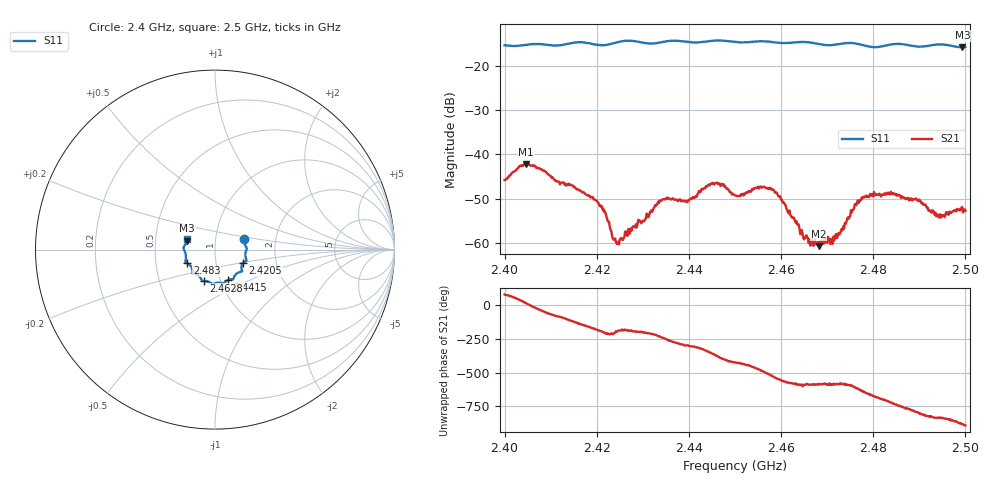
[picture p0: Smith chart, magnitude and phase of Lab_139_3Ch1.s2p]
# Hz S RI R 50
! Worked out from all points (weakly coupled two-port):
!   601 points, 2.4 GHz to 2.5 GHz, reference 50 ohm
!   highest |S21| = -42.16 dB at 2.4047 GHz (marker M1); lowest = -60.8 dB at 2.4682 GHz (marker M2)
!   lowest |S11| = -15.8 dB at 2.4993 GHz (marker M3), VSWR 1.39, Z = 36.4 + j3.68 ohm
!   |S11| at or under -10 dB: start of sweep to end of sweep
!   S12 and S22 are empty: the file has one direction only
!   S11 on the Smith chart (normalised r, x): 2.4 GHz: 1.38, +0.16; 2.4205 GHz: 1.35, -0.21; 2.4415 GHz: 1.09, -0.38; 2.4628 GHz: 0.83, -0.30; 2.483 GHz: 0.73, -0.11; 2.5 GHz: 0.73, +0.09
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2.4e9  0.1622 0.0568  0.00122 0.00498  0 0  0 0
2.404667e9  0.1733 0.0148  0.00762 0.00164  0 0  0 0
2.416667e9  0.1751 -0.0621  -0.00315 -0.00215  0 0  0 0
2.4205e9  0.1551 -0.0753  -0.00266 0.000474  0 0  0 0
2.423833e9  0.1481 -0.1061  -0.000988 0.000495  0 0  0 0
2.424667e9  0.1496 -0.1124  -0.00101 0.000171  0 0  0 0
2.433333e9  0.1079 -0.1478  -0.00187 0.00225  0 0  0 0
2.4415e9  0.0735 -0.1693  0.00223 0.0025  0 0  0 0
2.445667e9  0.0498 -0.1878  0.00468 -0.000681  0 0  0 0
2.45e9  0.0297 -0.1846  0.00151 -0.00308  0 0  0 0
2.458e9  -0.0238 -0.1855  -0.0038 -0.00119  0 0  0 0
2.462833e9  -0.0622 -0.1743  -0.00144 0.00125  0 0  0 0
2.466667e9  -0.0752 -0.1675  -0.0007 0.000826  0 0  0 0
2.468167e9  -0.0802 -0.1582  -0.000671 0.000623  0 0  0 0
2.471667e9  -0.1076 -0.1369  -0.000784 0.000919  0 0  0 0
2.478e9  -0.1254 -0.1165  0.000563 0.00329  0 0  0 0
2.483e9  -0.1539 -0.0766  0.00363 0.000657  0 0  0 0
2.483333e9  -0.1561 -0.0754  0.00365 0.000493  0 0  0 0
2.489667e9  -0.1623 -0.0338  0.000925 -0.00288  0 0  0 0
2.494167e9  -0.1755 0.00797  -0.000759 -0.00178  0 0  0 0
2.499333e9  -0.1554 0.0491  -0.00237 -0.000878  0 0  0 0
2.5e9  -0.1535 0.0576  -0.00228 -0.000397  0 0  0 0
